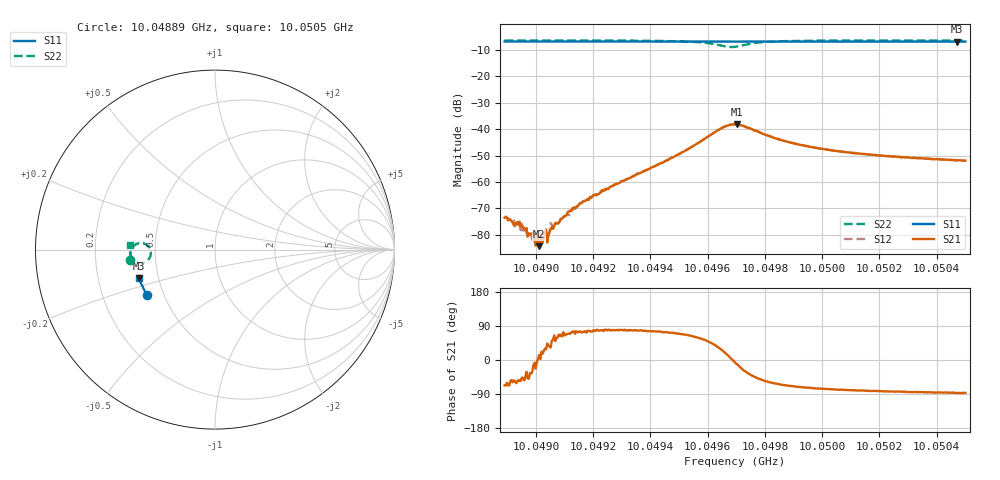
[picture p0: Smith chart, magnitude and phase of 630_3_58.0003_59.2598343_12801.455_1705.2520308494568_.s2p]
#  HZ  S  RI  R  50.00
! Rohde & Schwarz Vector Network Analyzer
! Rohde-Schwarz,ZNB20-2Port,1311601062101988,3.16
! Created: UTC 3/21/2024, 1:18:36 AM
! freq[Hz]  re:S11  im:S11  re:S21  im:S21  re:S12  im:S12  re:S22  im:S22
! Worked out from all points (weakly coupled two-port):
!   401 points, 10.04889 GHz to 10.0505 GHz, reference 50 ohm
!   highest |S21| = -38.18 dB at 10.0497 GHz (marker M1); lowest = -84.3 dB at 10.04901 GHz (marker M2)
!   lowest |S11| = -6.9 dB at 10.05047 GHz (marker M3), VSWR 2.65, Z = 19.4 - j7.72 ohm
!   |S11| at or under -10 dB: nowhere
!   |S22| runs from -8.9 to -6.4 dB; largest |S21 - S12| = 0.00099
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1.0048891e10  -0.3793 -0.2517  8.31e-05 -0.000194  0.000108 -0.000173  -0.4726 -0.0579
1.0048915e10  -0.3801 -0.2503  0.00011 -0.000145  0.00011 -0.000149  -0.4727 -0.056
1.0048923e10  -0.3805 -0.2499  8.92e-05 -0.000123  0.000114 -0.00015  -0.4726 -0.0554
1.0048943e10  -0.3812 -0.2488  0.0001 -0.000147  7.89e-05 -0.000144  -0.4728 -0.0538
1.0048975e10  -0.3822 -0.247  6.92e-05 -8.08e-05  8.73e-05 -4.77e-05  -0.473 -0.0511
1.0049011e10  -0.3835 -0.2449  5.95e-05 1.39e-05  8.63e-05 3.42e-05  -0.4731 -0.048
1.004904e10  -0.3844 -0.2433  5.21e-05 4.95e-05  9.4e-05 3.43e-05  -0.4733 -0.0456
1.004906e10  -0.385 -0.242  7.79e-05 0.000104  9.29e-05 0.0001  -0.4731 -0.044
1.0049068e10  -0.3854 -0.2416  0.000109 0.000129  6.37e-05 0.000153  -0.4732 -0.0433
1.004912e10  -0.387 -0.2386  0.000102 0.000271  6.67e-05 0.000269  -0.4731 -0.0385
1.004916e10  -0.3886 -0.2364  0.000121 0.000382  7.82e-05 0.000404  -0.4731 -0.0347
1.0049237e10  -0.3908 -0.232  0.00016 0.00066  0.000114 0.000689  -0.4726 -0.0268
1.004943e10  -0.3969 -0.2206  0.000573 0.00211  0.000439 0.00211  -0.4668 -0.00109
1.0049567e10  -0.4008 -0.2122  0.00284 0.00469  0.00253 0.00484  -0.4414 0.0292
1.0049651e10  -0.4025 -0.2072  0.00961 0.00457  0.00926 0.00516  -0.3764 0.0237
1.0049696e10  -0.4034 -0.2052  0.0122 -0.00139  0.0124 -0.000452  -0.3592 -0.0339
1.0049704e10  -0.4035 -0.2047  0.0121 -0.0025  0.0121 -0.00172  -0.3638 -0.0447
1.0049796e10  -0.4067 -0.1999  0.00468 -0.00652  0.00515 -0.00627  -0.4392 -0.0673
1.0049965e10  -0.4119 -0.1895  0.00125 -0.00437  0.00148 -0.00433  -0.4697 -0.0305
1.0050235e10  -0.4185 -0.1732  0.000372 -0.00305  0.000553 -0.00305  -0.475 0.00142
1.0050472e10  -0.4237 -0.1585  0.00013 -0.00258  0.000311 -0.00257  -0.4752 0.0216
1.00505e10  -0.4245 -0.1568  0.000139 -0.00254  0.000265 -0.00254  -0.4751 0.0241
